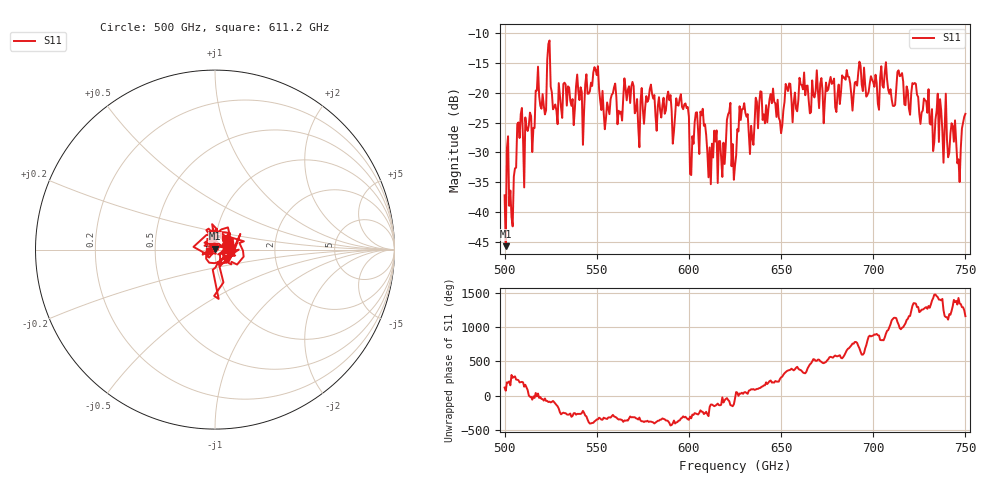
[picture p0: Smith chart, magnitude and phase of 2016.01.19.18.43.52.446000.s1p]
!Created with skrf (http://scikit-rf.org).
# GHz S RI R 50.0
!freq ReS11 ImS11
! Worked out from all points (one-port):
!   401 points, 500 GHz to 750 GHz, reference 50 ohm
!   lowest |S11| = -45.7 dB at 500.6 GHz (marker M1), VSWR 1.01, Z = 50.1 + j0.498 ohm
!   |S11| at or under -10 dB: start of sweep to end of sweep
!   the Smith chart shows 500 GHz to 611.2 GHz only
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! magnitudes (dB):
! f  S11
! 500 GHz  -37.2
! 500.6 GHz  -45.7
! 503.8 GHz  -40.9
! 508.1 GHz  -27.6
! 521.2 GHz  -22.1
! 524.4 GHz  -11.2
! 527.5 GHz  -22.0
! 531.2 GHz  -24.2
! 549.4 GHz  -16.1
! 553.8 GHz  -23.3
! 562.5 GHz  -23.5
! 566.2 GHz  -21.2
! 571.9 GHz  -21.0
! 593.8 GHz  -22.0
! 601.9 GHz  -27.3
! 607.5 GHz  -22.7
! 610.6 GHz  -34.2
! 618.8 GHz  -28.4
! 621.2 GHz  -23.6
! 625 GHz  -32.2
! 628.8 GHz  -22.7
! 633.8 GHz  -25.5
! 638.1 GHz  -21.8
! 656.2 GHz  -24.9
! 687.5 GHz  -18.4
! 718.8 GHz  -19.7
! 746.2 GHz  -31.1
! 750 GHz  -23.5
